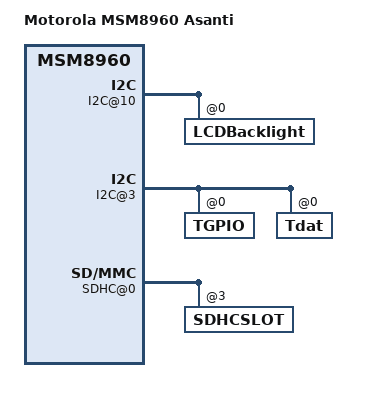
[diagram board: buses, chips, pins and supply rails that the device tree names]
/* Copyright (c) 2013 Motorola Mobility LLC. All rights reserved.
 *
 * This program is free software; you can redistribute it and/or modify
 * it under the terms of the GNU General Public License version 2 and
 * only version 2 as published by the Free Software Foundation.
 *
 * This program is distributed in the hope that it will be useful,
 * but WITHOUT ANY WARRANTY; without even the implied warranty of
 * MERCHANTABILITY or FITNESS FOR A PARTICULAR PURPOSE.  See the
 * GNU General Public License for more details.
 */

/dts-v1/;

/include/ "skeleton.dtsi"

/include/ "msm8960.dtsi"

/include/ "msm8960-motref.dtsi"

/include/ "msm8960-motref-pinmux.dtsi"

/ {
	model = "Motorola MSM8960 Asanti";
	compatible = "mmi,msm8960";

	mmi,product = "mmi,msm8960-asanti";

	mmi,dt_revision = <2>;

	Aliases@0 {
	};

	Machine@0 {
	};

};

/ {

	Aliases@0 {
	};

	Chosen@0 {
		batt_eprom_gpio = <0x5d>;
		emu_id_activehigh = <0x01>;
		emu_id_flt_activehigh = <0x01>;
		emu_id_flt_gpio = <0xaa>;
		emu_id_mpp_gpio = <0xcd>;
		factory_kill_disable = <0x00>;
		factory_kill_gpio = <0x0000004b>;
		formfactor = <0x00000003>;
		last_compat_version = <0x01330684>;
		panel_name = [6d6970695f6d6f745f636d645f61756f5f7168645f34333000];
		product = <0x000013ff>;
		qwerty_keyboard = <0x01>;
		ulpi_phy_init_seq = [34823f813383];
		version = <0x0133068b>;
	};

	Machine@0 {
	};

	System@0 {

		ClockTree@0 {
			class = [436c6f636b5472656500];
			type = <0x001e0014>;

			Clock@0 { /* gsbi5_uart_clk */
				class = [5175616c636f6d6d436c6f636b54726565436c6f636b00];
				clock = <0x000c>;
				clockname = [636f72655f636c6b00];
				deviceid = [6d736d5f73657269616c5f68736c2e3500];
				type = <0x001e0015>;
			};

			Clock@1 { /* gsbi5_p_clk */
				class = [5175616c636f6d6d436c6f636b54726565436c6f636b00];
				clock = <0x000e>;
				clockname = [69666163655f636c6b00];
				deviceid = [6d736d5f73657269616c5f68736c2e3500];
				type = <0x001e0015>;
			};

			Clock@2 { /* cam0_clk */
				class = [5175616c636f6d6d436c6f636b54726565436c6f636b00];
				clock = <0x0025>;
				clockname = [63616d5f636c6b00];
				deviceid = [342d3030333600];
				type = <0x001e0015>;
			};

			Clock@3 { /* cam1_clk */
				class = [5175616c636f6d6d436c6f636b54726565436c6f636b00];
				clock = <0x0024>;
				clockname = [63616d5f636c6b00];
				deviceid = [342d3030343800];
				type = <0x001e0015>;
			};

			Clock@4 { /* gsbi4_uart_clk, core_clk */
				class = [5175616c636f6d6d436c6f636b54726565436c6f636b00];
				clock = <0x0009>;
				clockname = [636f72655f636c6b00];
				deviceid = [6d736d5f73657269616c5f68732e3100];
				type = <0x001e0015>;
			};

			Clock@5 { /* gsbi4_uart_clk, iface_clk */
				class = [5175616c636f6d6d436c6f636b54726565436c6f636b00];
				clock = <0x000b>;
				clockname = [69666163655f636c6b00];
				deviceid = [6d736d5f73657269616c5f68732e3100];
				type = <0x001e0015>;
			};

			Clock@6 { /* gsbi4_uart_clk, qup_i2c.4 */
				class = [5175616c636f6d6d436c6f636b54726565436c6f636b00];
				clock = <0x000b>;
				clockname = [69666163655f636c6b00];
				deviceid = [7175705f6932632e3400];
				type = <0x001e0015>;
			};
		};

		EMUDetection@0 {
			accy-support = <0x00>;
			class = [5175616c636f6d6d5f454d555f446574656374696f6e00];
			ic-type = <0x01>;
			type = <0x0000001d>;
			uart-gsbi = <0x04>;
			usb-otg-vreg = [383932315f7573625f6f746700];
			vdd-vreg = [454d555f504f57455200];
			vdd-vreg-mv = <0x002b7cd0>;

			Gpio-alt-mode@0 {
				class = [4750494f00];
				gpio-info = <0x0223>;
				pin-name = [53454d555f414c545f4d4f44455f454e5f4750494f00];
				pmic-gpio-cfg = [010000050603000001];
				pmic-gpio-cfg-alt = [010001050601000000];
				type = <0x001e0010>;
			};

			Gpio-dmb-ppd@0 {
				class = [4750494f00];
				gpio-info = <0x0309>;
				pin-name = [444d425f5050445f4445545f4750494f00];
				pmic-mpp-cfg = [000400];
				type = <0x001e0010>;
			};

			Gpio-dminus@0 {
				class = [4750494f00];
				gpio-info = <0x0215>;
				pin-name = [444d494e55535f4750494f00];
				pmic-gpio-cfg = [010000010602010000];
				pmic-gpio-cfg-alt = [020000040603000000];
				type = <0x001e0010>;
			};

			Gpio-dplus@0 {
				class = [4750494f00];
				gpio-info = <0x0229>;
				pin-name = [44504c55535f4750494f00];
				pmic-gpio-cfg = [020000010602010000];
				pmic-gpio-cfg-alt = [020000000603000000];
				type = <0x001e0010>;
			};

			Gpio-mux-ctrl0@0 {
				class = [4750494f00];
				gpio-info = <0x016b>;
				msm-gpio-cfg = <0x00030300>;
				pin-name = [454d555f4d55585f4354524c305f4750494f00];
				type = <0x001e0010>;
			};

			Gpio-mux-ctrl1@0 {
				class = [4750494f00];
				gpio-info = <0x0160>;
				msm-gpio-cfg = <0x00030100>;
				pin-name = [454d555f4d55585f4354524c315f4750494f00];
				type = <0x001e0010>;
			};

			Gpio-ppd-det@0 {
				class = [4750494f00];
				gpio-info = <0x0217>;
				pin-name = [53454d555f5050445f4445545f4750494f00];
				pmic-gpio-cfg = [020000050603000000];
				type = <0x001e0010>;
			};

			Gpio-sci-out@0 {
				class = [4750494f00];
				gpio-info = <0x030a>;
				pin-name = [454d555f5343495f4f55545f4750494f00];
				pmic-mpp-cfg = [000400];
				type = <0x001e0010>;
			};

			Gpio-uart-rx-pair@0 {
				class = [4750494f00];
				gpio-info = <0x022a>;
				pin-name = [52585f504149525f4750494f00];
				pmic-gpio-cfg = [010000010202010000];
				pmic-gpio-cfg-alt = [020000050202000001];
				type = <0x001e0010>;
			};

			Gpio-uart-tx-pair@0 {
				class = [4750494f00];
				gpio-info = <0x0216>;
				pin-name = [54585f504149525f4750494f00];
				pmic-gpio-cfg = [020000010202010000];
				pmic-gpio-cfg-alt = [020000050202000001];
				type = <0x001e0010>;
			};

			Gpio-whisper-rx@0 {
				class = [4750494f00];
				gpio-info = <0x0113>;
				msm-gpio-cfg = <0x01030000>;
				msm-gpio-cfg-alt = <0x00030000>;
				pin-name = [574849535045525f554152545f52585f4750494f00];
				type = <0x001e0010>;
			};

			Gpio-whisper-tx@0 {
				class = [4750494f00];
				gpio-info = <0x0112>;
				msm-gpio-cfg = <0x01030000>;
				msm-gpio-cfg-alt = <0x00030002>;
				pin-name = [574849535045525f554152545f54585f4750494f00];
				type = <0x001e0010>;
			};
		};

		GSBISetup@0 {
			class = [47534249536574757000];
			type = <0x001e0012>;

			GSBI@1 { /* Qualcomm,GSBI,Port,SPI */
				class = [5175616c636f6d6d47534249504f525400];
				gsbi_type = <0x03>;
				max_clock_speed = <0x00e5cc20>;
				type = <0x001e0013>;
			};

			GSBI@10 { /* Qualcomm,GSBI,Port,I2CSIM */
				class = [5175616c636f6d6d47534249504f525400];
				clk_freq = <0x00061a80>;
				gsbi_type = <0x01>;
				src_clk_rate = <0x016e3600>;
				type = <0x001e0013>;
			};

			GSBI@3 { /* Qualcomm,GSBI,Port,I2C */
				class = [5175616c636f6d6d47534249504f525400];
				clk_freq = <0x00061a80>;
				gsbi_type = <0x02>;
				src_clk_rate = <0x016e3600>;
				type = <0x001e0013>;
			};

			GSBI@4 { /* Qualcomm,GSBI,Port,I2CUART */
				class = [5175616c636f6d6d47534249504f525400];
				clk_freq = <0x00061a80>;
				gsbi_type = <0x06>;
				shared_mode = <0x01>;
				src_clk_rate = <0x016e3600>;
				type = <0x001e0013>;
			};

			GSBI@5 { /* Qualcomm,GSBI,Port,I2CUART */
				class = [5175616c636f6d6d47534249504f525400];
				gsbi_type = <0x06>;
				shared_mode = <0x00>;
				type = <0x001e0013>;
				uart_line = <0x00>;
			};
		};

		I2C@10 {
			class = <0x49324300>;
			type = <0x001e0003>;

			I2C,Board@0 { /* ct406 */
				class = [435434303600];
				ct405_prox_covered_offset = <0x0078>;
				ct405_prox_offset = <0x00>;
				ct405_prox_recalibrate_offset = <0x0046>;
				ct405_prox_saturation_threshold = <0x0208>;
				ct405_prox_uncovered_offset = <0x005a>;
				ct406_prox_covered_offset = <0x0078>;
				ct406_prox_offset = <0x00>;
				ct406_prox_pulse_count = <0x04>;
				ct406_prox_recalibrate_offset = <0x0046>;
				ct406_prox_saturation_threshold = <0x0208>;
				ct406_prox_uncovered_offset = <0x005a>;
				i2c,address = <0x00000039>;
				i2c,type = [637434303600];
				irq,gpio = <0x31>;
				prox_samples_for_noise_floor = <0x05>;
				type = <0x00250001>;
			};

			I2C,Board@4 { /* pn544 */
				class = [504e35343400];
				i2c,address = <0x00000028>;
				i2c,type = [706e35343400];
				irq,gpio = <0x6a>;
				platform_data = [0000006a000000440000003300000000];
				type = <0x00190001>;
			};

			I2C,Board@5 { /* tmp105 */
				class = [544d5031303500];
				i2c,address = <0x00000048>;
				i2c,type = [746d7031303500];
				irq,gpio = <0x43>;
				type = <0x00030014>;
			};

			LCDBacklight@0 { /* lm3532 */
				class = [4c43444261636b6c6967687400];
				ctrl_a_fsc = <0x16>;
				i2c,address = <0x00000038>;
				i2c,type = [6c6d3335333200];
				led2_controller = <0x01>;
				ctrl_b_name = "keyboard-backlight";
				pwm_disable_threshold = <0xff>;
				type = <0x000b0004>;
			};
		};

		I2C@3 {
			class = <0x49324300>;
			type = <0x001e0003>;

			I2C,Board@3 { /* Atmel,mXT */
				class = <0x4d585400>;
				i2c,address = <0x0000004a>;
				i2c,type = [61746d78742d69326300];
				irq,gpio = <0x2e>;
				type = <0x00260001>;

				TGPIO@0 {
					class = [544750494f00];
					en_gpio = <0x34>;
					irq_gpio = <0x2e>;
					rst_gpio = <0x32>;
					type = <0x0000001f>;
				};

				Tdat@0 {
					class = [5464617400];
					tdat_filename = [61746d78742d72322e7464617400];
					type = <0x0000001e>;
				};
			};
		};

		I2C@4 {
			class = <0x49324300>;
			type = <0x001e0003>;

			I2C,Board@0 { /* lm3556_led */
				class = [4c4d3335353600];
				current_cntrl_reg_val = <0x2b>;
				enable_gpio = <0x00000002>;
				i2c,address = <0x00000063>;
				i2c,type = [6c6d333535365f6c656400];
				type = <0x000b0006>;
			};

			I2C,Board@1 { /* OV8820 */
				class = [4f563838323000];
				gpio_avdd_en = <0x00000036>;
				gpio_dig_en = <0x00000000>;
				gpio_pwd = <0x0000005f>;
				gpio_reset = <0x00000061>;
				i2c,address = <0x00000036>;
				i2c,type = [6f763838323000];
				type = <0x00290000>;
			};

			I2C,Board@2 { /* mt9m114 */
				class = [4d54394d31313400];
				i2c,address = <0x00000048>;
				i2c,type = [6d74396d31313400];
				type = <0x00280000>;
				gpio_dig_en = <0x00000059>;
				gpio_avdd_en = <0x00000052>;
				gpio_reset = <0x0000004C>;
				mclk_freq = <0x016E3600>;
			};
		};

		IOMUX@0 {
			class = [494f4d555800];
			/*
			{GPIO000,ACTIVE,MODE1,PULL_DOWN,2MA,GPIOMUX_IN},
			{GPIO000,SUSPENDED,MODE0,PULL_DOWN,2MA,GPIOMUX_IN},
			{GPIO002,ACTIVE,MODE0,PULL_DISABLE,2MA,GPIOMUX_IN},
			{GPIO002,SUSPENDED,MODE0,PULL_DOWN,2MA,GPIOMUX_IN},
			{GPIO003,ACTIVE,MODE1,PULL_DISABLE,2MA,GPIOMUX_IN},
			{GPIO003,SUSPENDED,MODE0,PULL_DOWN,2MA,GPIOMUX_IN},
			{GPIO004,ACTIVE,MODE2,PULL_UP,8MA,GPIOMUX_IN},
			{GPIO004,SUSPENDED,MODE2,PULL_DOWN,8MA,GPIOMUX_IN},
			{GPIO005,ACTIVE,MODE1,PULL_UP,8MA,GPIOMUX_IN},
			{GPIO005,SUSPENDED,MODE1,PULL_DOWN,8MA,GPIOMUX_IN},
			{GPIO015,ACTIVE,MODE0,PULL_UP,2MA,GPIOMUX_IN},
			{GPIO015,SUSPENDED,MODE0,PULL_DOWN,2MA,GPIOMUX_IN},
			{GPIO018,ACTIVE,MODE1,PULL_DISABLE,8MA,GPIOMUX_IN},
			{GPIO018,SUSPENDED,MODE0,KEEPER,2MA,GPIOMUX_IN},
			{GPIO019,ACTIVE,MODE1,PULL_DISABLE,8MA,GPIOMUX_IN},
			{GPIO019,SUSPENDED,MODE0,KEEPER,2MA,GPIOMUX_IN},
			{GPIO020,ACTIVE,MODE1,PULL_DISABLE,8MA,GPIOMUX_IN},
			{GPIO020,SUSPENDED,MODE0,PULL_DISABLE,2MA,GPIOMUX_IN},
			{GPIO021,ACTIVE,MODE1,PULL_DISABLE,8MA,GPIOMUX_IN},
			{GPIO021,SUSPENDED,MODE0,PULL_DISABLE,2MA,GPIOMUX_IN},
			{GPIO043,ACTIVE,MODE0,PULL_DOWN,2MA,GPIOMUX_IN},
			{GPIO043,SUSPENDED,MODE0,PULL_DOWN,2MA,GPIOMUX_IN},
			{GPIO044,ACTIVE,MODE1,PULL_DISABLE,8MA,GPIOMUX_IN},
			{GPIO044,SUSPENDED,MODE0,PULL_DISABLE,2MA,GPIOMUX_IN},
			{GPIO045,ACTIVE,MODE1,PULL_DISABLE,8MA,GPIOMUX_IN},
			{GPIO045,SUSPENDED,MODE0,PULL_DISABLE,2MA,GPIOMUX_IN},
			{GPIO047,ACTIVE,MODE0,PULL_DISABLE,2MA,GPIOMUX_IN},
			{GPIO047,SUSPENDED,MODE0,PULL_DOWN,2MA,GPIOMUX_IN},
			{GPIO051,ACTIVE,MODE0,PULL_DISABLE,2MA,GPIOMUX_IN},
			{GPIO051,SUSPENDED,MODE0,PULL_DISABLE,2MA,GPIOMUX_IN},
			{GPIO068,ACTIVE,MODE0,PULL_DISABLE,2MA,GPIOMUX_IN},
			{GPIO068,SUSPENDED,MODE0,PULL_DISABLE,2MA,GPIOMUX_IN},
			{GPIO076,ACTIVE,MODE0,PULL_DISABLE,2MA,GPIOMUX_IN},
			{GPIO076,SUSPENDED,MODE0,PULL_DOWN,2MA,GPIOMUX_IN},
			{GPIO079,ACTIVE,MODE0,PULL_DISABLE,2MA,GPIOMUX_IN},
			{GPIO079,SUSPENDED,MODE0,PULL_DOWN,2MA,GPIOMUX_IN},
			{GPIO093,ACTIVE,MODE0,PULL_DISABLE,2MA,GPIOMUX_IN},
			{GPIO093,SUSPENDED,MODE0,PULL_DISABLE,2MA,GPIOMUX_IN},
			{GPIO106,ACTIVE,MODE0,PULL_DISABLE,2MA,GPIOMUX_IN},
			{GPIO106,SUSPENDED,MODE0,PULL_DISABLE,2MA,GPIOMUX_IN}
			*/
			settings =
[00000001010000000001000100000002000000000000020100010000000300010000000003010001000000040002030300000401020103000005000103030000050101010300000f0000030000000f01000100000012000100030000120100020000001300010003000013010002000000140001000300001401000000000015000100030000150100000000002b0000010000002b0100010000002c0001000300002c0100000000002d0001000300002d0100000000002f0000000000002f010001000000330000000000003301000000000044000000000000440100000000004c0000000000004c0100010000004f0000000000004f0100010000005d0000000000005d0100000000006a0000000000006a0100000000];
			type = <0x001e000f>;
		};

		PowerIC@0 {
			chg-hot-temp = <0x37>;
			chg-hot-temp-offset = <0x05>;
			chg-hot-temp-pcb = <0x3f>;
			chg-hot-temp-pcb-offset = <0xfe>;
			class = [506f776572494300];
			type = <0x001e0004>;

			GPIO@0 {
				class = [5175616c636f6d6d504d383932314750494f00];
				gpio = <0x0006>;
				type = <0x001e0006>;
			};

			GPIO@1 {
				class = [5175616c636f6d6d504d383932314750494f00];
				gpio = <0x0007>;
				type = <0x001e0006>;
			};

			GPIO@10 {
				class = [5175616c636f6d6d504d383932314750494f00];
				gpio = <0x002a>;
				type = <0x001e000c>;
				vin = <0x02>;
			};

			GPIO@11 {
				class = [5175616c636f6d6d504d383932314750494f00];
				gpio = <0x002b>;
				type = <0x001e0007>;
				value = <0x0001>;
			};

			GPIO@12 {
				class = [5175616c636f6d6d504d383932314750494f00];
				gpio = <0x0021>;
				pull = <0x00>;
				type = <0x001e0008>;
			};

			GPIO@2 {
				class = [5175616c636f6d6d504d383932314750494f00];
				gpio = <0x0010>;
				pull = <0x00>;
				type = <0x001e0008>;
			};

			GPIO@3 {
				class = [5175616c636f6d6d504d383932314750494f00];
				gpio = <0x0015>;
				type = <0x001e000c>;
				vin = <0x06>;
			};

			GPIO@4 {
				class = [5175616c636f6d6d504d383932314750494f00];
				gpio = <0x0016>;
				type = <0x001e000b>;
				vin = <0x02>;
			};

			GPIO@5 {
				class = [5175616c636f6d6d504d383932314750494f00];
				func = <0x03>;
				gpio = <0x0018>;
				type = <0x001e0009>;
				value = <0x0000>;
			};

			GPIO@6 {
				class = [5175616c636f6d6d504d383932314750494f00];
				func = <0x03>;
				gpio = <0x0019>;
				type = <0x001e0009>;
				value = <0x0000>;
			};

			GPIO@7 {
				class = [5175616c636f6d6d504d383932314750494f00];
				func = <0x03>;
				gpio = <0x001a>;
				type = <0x001e0009>;
				value = <0x0000>;
			};

			GPIO@8 {
				class = [5175616c636f6d6d504d383932314750494f00];
				gpio = <0x0014>;
				pull = <0x00>;
				type = <0x001e0008>;
			};

			GPIO@9 {
				class = [5175616c636f6d6d504d383932314750494f00];
				gpio = <0x0029>;
				type = <0x001e000b>;
				vin = <0x06>;
			};

			LED@0 { /* shift-key-light */
				class = [5175616c636f6d6d504d383932314c454400];
				default_trigger = [6e6f6e6500];
				index = <0x00000001>;
				led_name = [73686966742d6b65792d6c6967687400];
				type = <0x001e000e>;
			};
		};

		SDHC@0 {
			class = [5344484300];
			type = <0x001e000d>;

			SDHCSLOT@3 {
				card_connect = <0x00000001>;
				pad_drv_clk = <0x00000002>;
				pad_drv_cmd = <0x00000002>;
				pad_drv_dat = <0x00000002>;
			};
		};

		Vibrator@0 {
			class = [5669627261746f7200];
			max = <0x01c9c380>;
			min = <0x00003a98>;
			pwm = [00004e1f000000010000000100000001000061a7000080e8000080e800004e20000080e700009c4000009c40000061a800009c3f0000cb200000cb20000080e80000ea600000ea600000ea6000009c4001ba814100009c4000009a4c00009c4001ba852900002710000027100000138801c9c38000009c4000009a4c00000000];
			regulator = [383932315f6c313600];
			type = <0x00000017>;
			vib_dir = [0000001f00000001ffffffff0000004f];
			vib_en = [0000001f00000001ffffffff0000002f];
		};
	};
};

/ {

	mmi,revision = "p2";

};
